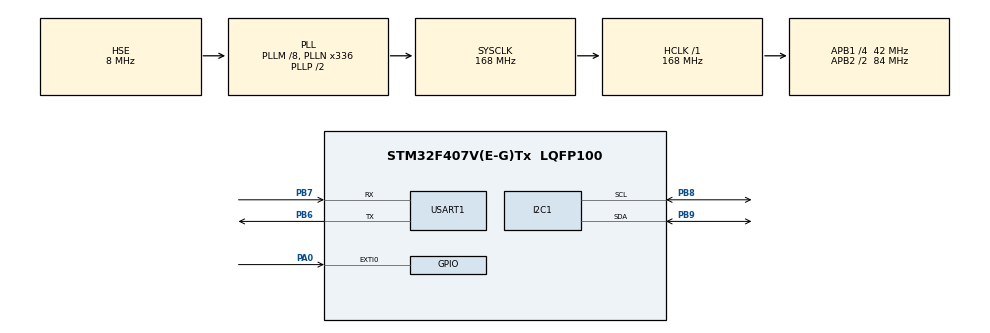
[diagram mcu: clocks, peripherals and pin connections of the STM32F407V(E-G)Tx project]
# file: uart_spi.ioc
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Mcu.Family=STM32F4
Mcu.Name=STM32F407V(E-G)Tx
Mcu.Package=LQFP100
NVIC.EXTI0_IRQn=true\:0\:0\:false\:false\:true\:true\:true\:true
NVIC.PriorityGroup=NVIC_PRIORITYGROUP_0
NVIC.USART1_IRQn=true\:0\:0\:false\:false\:true\:true\:true\:true
PA0-WKUP.GPIO_ModeDefaultEXTI=GPIO_MODE_IT_RISING
PA0-WKUP.Signal=GPXTI0
PA13.Mode=Serial_Wire
PA13.Signal=SYS_JTMS-SWDIO
PA14.Mode=Serial_Wire
PA14.Signal=SYS_JTCK-SWCLK
PB6.Mode=Asynchronous
PB6.Signal=USART1_TX
PB7.Mode=Asynchronous
PB7.Signal=USART1_RX
PB8.Mode=I2C
PB8.Signal=I2C1_SCL
PB9.Mode=I2C
PB9.Signal=I2C1_SDA
PH0-OSC_IN.Mode=HSE-External-Oscillator
PH0-OSC_IN.Signal=RCC_OSC_IN
PH1-OSC_OUT.Mode=HSE-External-Oscillator
PH1-OSC_OUT.Signal=RCC_OSC_OUT
ProjectManager.HeapSize=0x200
ProjectManager.StackSize=0x400
ProjectManager.TargetToolchain=STM32CubeIDE
RCC.48MHZClocksFreq_Value=48000000
RCC.AHBFreq_Value=168000000
RCC.APB1CLKDivider=RCC_HCLK_DIV4
RCC.APB1Freq_Value=42000000
RCC.APB1TimFreq_Value=84000000
RCC.APB2CLKDivider=RCC_HCLK_DIV2
RCC.APB2Freq_Value=84000000
RCC.APB2TimFreq_Value=168000000
RCC.CortexFreq_Value=168000000
RCC.HCLKFreq_Value=168000000
RCC.HSE_VALUE=8000000
RCC.HSI_VALUE=16000000
RCC.PLLM=8
RCC.PLLN=336
RCC.PLLQ=7
RCC.PLLSourceVirtual=RCC_PLLSOURCE_HSE
RCC.SYSCLKFreq_VALUE=168000000
RCC.SYSCLKSource=RCC_SYSCLKSOURCE_PLLCLK
RCC.VCOOutputFreq_Value=336000000
USART1.VirtualMode=VM_ASYNC
board=STM32F407G-DISC1

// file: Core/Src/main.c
/* USER CODE BEGIN Header */
/**
  ******************************************************************************
  * @file           : main.c
  * @brief          : Main program body
  ******************************************************************************
  * @attention
  *
  * Copyright (c) 2024 STMicroelectronics.
  * All rights reserved.
  *
  * This software is licensed under terms that can be found in the LICENSE file
  * in the root directory of this software component.
  * If no LICENSE file comes with this software, it is provided AS-IS.
  *
  ******************************************************************************
  */
/* USER CODE END Header */
#include "main.h"

/* USER CODE BEGIN Includes */
#include "bmp280.h"
#include "stdio.h"
/* USER CODE END Includes */

I2C_HandleTypeDef hi2c1;

UART_HandleTypeDef huart1;

/* USER CODE BEGIN PV */
BMP280_HandleTypedef bmp280;

float pressure, temperature, humidity;

uint16_t size;
uint8_t Data[256];
volatile uint8_t uart_receiver_mode = 0;

uint8_t Rx_data[10];
/* USER CODE END PV */

void SystemClock_Config(void);
static void MX_GPIO_Init(void);
static void MX_I2C1_Init(void);
static void MX_USART1_UART_Init(void);

/* USER CODE BEGIN 0 */
void HAL_UART_RxCpltCallback(UART_HandleTypeDef *huart)
{
    HAL_UART_Receive_IT(&huart1, Rx_data, 10);
}
/* USER CODE END 0 */

int main(void)
{

  /* MCU Configuration--------------------------------------------------------*/

  /* Reset of all peripherals, Initializes the Flash interface and the Systick. */
  HAL_Init();

  /* Configure the system clock */
  SystemClock_Config();

  /* Initialize all configured peripherals */
  MX_GPIO_Init();
  MX_I2C1_Init();
  MX_USART1_UART_Init();
  /* USER CODE BEGIN 2 */
  HAL_UART_Receive_IT(&huart1, Rx_data, 10);

  	bmp280_init_default_params(&bmp280.params);
  	bmp280.addr = BMP280_I2C_ADDRESS_0;
  	bmp280.i2c = &hi2c1;

  	while (!bmp280_init(&bmp280, &bmp280.params)) {
  		size = sprintf((char *)Data, "BMP280 initialization failed\n\r");
  		HAL_UART_Transmit(&huart1, Data, size, 1000);
  		HAL_Delay(2000);
  	}
  	bool bme280p = bmp280.id == BME280_CHIP_ID;
  	size = sprintf((char *)Data, "BMP280: found %s\n\r", bme280p ? "BME280\r" : "BMP280\r");
  	HAL_UART_Transmit(&huart1, Data, size, 1000);
  /* USER CODE END 2 */

  /* Infinite loop */
  /* USER CODE BEGIN WHILE */
  while (1)
  {
	  if(!uart_receiver_mode){
	  	  	  HAL_Delay(2000);
	  	  	  		while (!bmp280_read_float(&bmp280, &temperature, &pressure, &humidity)) {
	  	  	  			size = sprintf((char *)Data,"Temperature/pressure reading failed\n");
	  	  	  			HAL_UART_Transmit(&huart1, Data, size, 1000);
	  	  	  			HAL_Delay(2000);
	  	  	  		}

	  	  			size = sprintf((char *)Data,"Pressure: %.2f Pa, Temperature: %.2f C\r",pressure, temperature);
	  	  			HAL_UART_Transmit(&huart1, Data, size, 1000);

	  	  	  		if (bme280p) {
	  	  	  			size = sprintf((char *)Data,", Humidity: %.2f\n\r", humidity);
	  	  	  			HAL_UART_Transmit(&huart1, Data, size, 1000);
	  	  	  		}

	  	  	  		else {
	  	  	  			size = sprintf((char *)Data, "\n");
	  	  	  			HAL_UART_Transmit(&huart1, Data, size, 1000);
	  	  	  		}
	  	  	  }

	  	  	  else {
	  	  		  	  size = sprintf((char *)Data, "uart receiver \n");
					  HAL_UART_Transmit(&huart1, Data, size, 1000);

				  while(1){
	  	  			  HAL_UART_Receive_IT(&huart1, Rx_data, 10);
	  	  			  HAL_UART_Transmit(&huart1, Rx_data, 10, 1000);
	  	  			  HAL_Delay(100);
	  	  		  }
	  	  	  }
    /* USER CODE END WHILE */

  }
}

void SystemClock_Config(void)
{
  RCC_OscInitTypeDef RCC_OscInitStruct = {0};
  RCC_ClkInitTypeDef RCC_ClkInitStruct = {0};

  /** Configure the main internal regulator output voltage
  */
  __HAL_RCC_PWR_CLK_ENABLE();
  __HAL_PWR_VOLTAGESCALING_CONFIG(PWR_REGULATOR_VOLTAGE_SCALE1);

  /** Initializes the RCC Oscillators according to the specified parameters
  * in the RCC_OscInitTypeDef structure.
  */
  RCC_OscInitStruct.OscillatorType = RCC_OSCILLATORTYPE_HSE;
  RCC_OscInitStruct.HSEState = RCC_HSE_ON;
  RCC_OscInitStruct.PLL.PLLState = RCC_PLL_ON;
  RCC_OscInitStruct.PLL.PLLSource = RCC_PLLSOURCE_HSE;
  RCC_OscInitStruct.PLL.PLLM = 8;
  RCC_OscInitStruct.PLL.PLLN = 336;
  RCC_OscInitStruct.PLL.PLLP = RCC_PLLP_DIV2;
  RCC_OscInitStruct.PLL.PLLQ = 7;
  if (HAL_RCC_OscConfig(&RCC_OscInitStruct) != HAL_OK)
  {
    Error_Handler();
  }

  /** Initializes the CPU, AHB and APB buses clocks
  */
  RCC_ClkInitStruct.ClockType = RCC_CLOCKTYPE_HCLK|RCC_CLOCKTYPE_SYSCLK
                              |RCC_CLOCKTYPE_PCLK1|RCC_CLOCKTYPE_PCLK2;
  RCC_ClkInitStruct.SYSCLKSource = RCC_SYSCLKSOURCE_PLLCLK;
  RCC_ClkInitStruct.AHBCLKDivider = RCC_SYSCLK_DIV1;
  RCC_ClkInitStruct.APB1CLKDivider = RCC_HCLK_DIV4;
  RCC_ClkInitStruct.APB2CLKDivider = RCC_HCLK_DIV2;

  if (HAL_RCC_ClockConfig(&RCC_ClkInitStruct, FLASH_LATENCY_5) != HAL_OK)
  {
    Error_Handler();
  }
}

static void MX_I2C1_Init(void)
{

  hi2c1.Instance = I2C1;
  hi2c1.Init.ClockSpeed = 100000;
  hi2c1.Init.DutyCycle = I2C_DUTYCYCLE_2;
  hi2c1.Init.OwnAddress1 = 0;
  hi2c1.Init.AddressingMode = I2C_ADDRESSINGMODE_7BIT;
  hi2c1.Init.DualAddressMode = I2C_DUALADDRESS_DISABLE;
  hi2c1.Init.OwnAddress2 = 0;
  hi2c1.Init.GeneralCallMode = I2C_GENERALCALL_DISABLE;
  hi2c1.Init.NoStretchMode = I2C_NOSTRETCH_DISABLE;
  if (HAL_I2C_Init(&hi2c1) != HAL_OK)
  {
    Error_Handler();
  }

}

static void MX_USART1_UART_Init(void)
{

  huart1.Instance = USART1;
  huart1.Init.BaudRate = 115200;
  huart1.Init.WordLength = UART_WORDLENGTH_8B;
  huart1.Init.StopBits = UART_STOPBITS_1;
  huart1.Init.Parity = UART_PARITY_NONE;
  huart1.Init.Mode = UART_MODE_TX_RX;
  huart1.Init.HwFlowCtl = UART_HWCONTROL_NONE;
  huart1.Init.OverSampling = UART_OVERSAMPLING_16;
  if (HAL_UART_Init(&huart1) != HAL_OK)
  {
    Error_Handler();
  }

}

static void MX_GPIO_Init(void)
{
  GPIO_InitTypeDef GPIO_InitStruct = {0};

  /* GPIO Ports Clock Enable */
  __HAL_RCC_GPIOH_CLK_ENABLE();
  __HAL_RCC_GPIOA_CLK_ENABLE();
  __HAL_RCC_GPIOB_CLK_ENABLE();

  /*Configure GPIO pin : PA0 */
  GPIO_InitStruct.Pin = GPIO_PIN_0;
  GPIO_InitStruct.Mode = GPIO_MODE_IT_RISING;
  GPIO_InitStruct.Pull = GPIO_NOPULL;
  HAL_GPIO_Init(GPIOA, &GPIO_InitStruct);

  /* EXTI interrupt init*/
  HAL_NVIC_SetPriority(EXTI0_IRQn, 0, 0);
  HAL_NVIC_EnableIRQ(EXTI0_IRQn);

}

void Error_Handler(void)
{
  __disable_irq();
  while (1)
  {
  }
}
